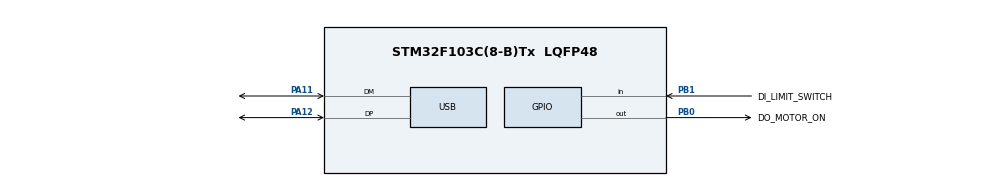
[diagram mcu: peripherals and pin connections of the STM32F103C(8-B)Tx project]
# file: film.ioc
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Mcu.Family=STM32F1
Mcu.Name=STM32F103C(8-B)Tx
Mcu.Package=LQFP48
NVIC.PriorityGroup=NVIC_PRIORITYGROUP_4
NVIC.USB_LP_CAN1_RX0_IRQn=true\:0\:0\:false\:false\:true\:false\:true
PA11.Mode=Device
PA11.Signal=USB_DM
PA12.Mode=Device
PA12.Signal=USB_DP
PA13.Mode=Serial_Wire
PA13.Signal=SYS_JTMS-SWDIO
PA14.Mode=Serial_Wire
PA14.Signal=SYS_JTCK-SWCLK
PB0.GPIO_Label=DO_MOTOR_ON
PB0.Signal=GPIO_Output
PB1.GPIO_Label=DI_LIMIT_SWITCH
PB1.GPIO_PuPd=GPIO_PULLUP
PB1.Signal=GPIO_Input
PD0-OSC_IN.Mode=HSE-External-Oscillator
PD0-OSC_IN.Signal=RCC_OSC_IN
PD1-OSC_OUT.Mode=HSE-External-Oscillator
PD1-OSC_OUT.Signal=RCC_OSC_OUT
ProjectManager.HeapSize=0x200
ProjectManager.StackSize=0x400
ProjectManager.TargetToolchain=MDK-ARM V5.27
RCC.AHBFreq_Value=72000000
RCC.APB1CLKDivider=RCC_HCLK_DIV2
RCC.APB1Freq_Value=36000000
RCC.APB1TimFreq_Value=72000000
RCC.APB2Freq_Value=72000000
RCC.APB2TimFreq_Value=72000000
RCC.HCLKFreq_Value=72000000
RCC.PLLMUL=RCC_PLL_MUL9
RCC.PLLSourceVirtual=RCC_PLLSOURCE_HSE
RCC.SYSCLKFreq_VALUE=72000000
RCC.SYSCLKSource=RCC_SYSCLKSOURCE_PLLCLK
RCC.USBFreq_Value=48000000
RCC.USBPrescaler=RCC_USBCLKSOURCE_PLL_DIV1_5
USB_DEVICE.CLASS_NAME_FS=CDC
USB_DEVICE.VirtualMode=Cdc
USB_DEVICE.VirtualModeFS=Cdc_FS
VP_USB_DEVICE_VS_USB_DEVICE_CDC_FS.Mode=CDC_FS
board=custom

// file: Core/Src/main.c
/* USER CODE BEGIN Header */
/**
  ******************************************************************************
  * @file           : main.c
  * @brief          : Main program body
  ******************************************************************************
  * @attention
  *
  * <h2><center>&copy; Copyright (c) 2021 STMicroelectronics.
  * All rights reserved.</center></h2>
  *
  * This software component is licensed by ST under Ultimate Liberty license
  * SLA0044, the "License"; You may not use this file except in compliance with
  * the License. You may obtain a copy of the License at:
  *                             www.st.com/SLA0044
  *
  ******************************************************************************
  */
/* USER CODE END Header */
#include "main.h"
#include "usb_device.h"
#include "usbd_cdc_if.h"
#include "gpio.h"

/* USER CODE BEGIN PM */
#define DI_LIMIT_SWITCH_IS_ON   LL_GPIO_IsInputPinSet(DI_LIMIT_SWITCH_GPIO_Port,\
                                                      DI_LIMIT_SWITCH_Pin)
#define DO_MOTOR_ON             LL_GPIO_SetOutputPin(DO_MOTOR_ON_GPIO_Port,\
                                                      DO_MOTOR_ON_Pin)
#define DO_MOTOR_OFF             LL_GPIO_ResetOutputPin(DO_MOTOR_ON_GPIO_Port,\
                                                        DO_MOTOR_ON_Pin)
/* USER CODE END PM */

void SystemClock_Config(void);

/* USER CODE BEGIN 0 */
USBD_StatusTypeDef UsbStatusType;
uint8_t rx_buf[100];
uint8_t tx_buf[100];
#define HELLO "Hello!"

int8_t MY_CDC_Receive_FS(uint8_t* Buf, uint32_t *Len)
{
  uint32_t len = *Len;
  uint8_t *p_rx_buf = &rx_buf[0];
  while(len--)
  {
    *p_rx_buf = *Buf;
    ++p_rx_buf;
    ++Buf;
  }
  return (USBD_OK);
}
/* USER CODE END 0 */

int main(void)
{

  /* MCU Configuration--------------------------------------------------------*/

  /* Reset of all peripherals, Initializes the Flash interface and the Systick. */
  HAL_Init();

  /* Configure the system clock */
  SystemClock_Config();

  /* Initialize all configured peripherals */
  MX_GPIO_Init();
  MX_USB_DEVICE_Init();
  USBD_Interface_fops_FS.Receive = MY_CDC_Receive_FS;
//  USBD_CDC_SetTxBuffer(&hUsbDeviceFS,
//                              tx_buf,
//                              100);
//  USBD_CDC_SetRxBuffer(&hUsbDeviceFS,
//                              rx_buf);

  /* Infinite loop */
  /* USER CODE BEGIN WHILE */
  while (1)
  {
    if(DI_LIMIT_SWITCH_IS_ON)
    { DO_MOTOR_ON; }
    else
    {
      DO_MOTOR_OFF;
      HAL_Delay(1000);
    }

    //CDC_Receive_FS(rx_buf, 100);
//    HAL_Delay(1000);
//    CDC_Transmit_FS(rx_buf, sizeof(HELLO));

    /* USER CODE END WHILE */

  }
}

void SystemClock_Config(void)
{
  LL_FLASH_SetLatency(LL_FLASH_LATENCY_2);
  while(LL_FLASH_GetLatency()!= LL_FLASH_LATENCY_2)
  {
  }
  LL_RCC_HSE_Enable();

   /* Wait till HSE is ready */
  while(LL_RCC_HSE_IsReady() != 1)
  {

  }
  LL_RCC_PLL_ConfigDomain_SYS(LL_RCC_PLLSOURCE_HSE_DIV_1, LL_RCC_PLL_MUL_9);
  LL_RCC_PLL_Enable();

   /* Wait till PLL is ready */
  while(LL_RCC_PLL_IsReady() != 1)
  {

  }
  LL_RCC_SetAHBPrescaler(LL_RCC_SYSCLK_DIV_1);
  LL_RCC_SetAPB1Prescaler(LL_RCC_APB1_DIV_2);
  LL_RCC_SetAPB2Prescaler(LL_RCC_APB2_DIV_1);
  LL_RCC_SetSysClkSource(LL_RCC_SYS_CLKSOURCE_PLL);

   /* Wait till System clock is ready */
  while(LL_RCC_GetSysClkSource() != LL_RCC_SYS_CLKSOURCE_STATUS_PLL)
  {

  }
  LL_SetSystemCoreClock(72000000);

   /* Update the time base */
  if (HAL_InitTick (TICK_INT_PRIORITY) != HAL_OK)
  {
    Error_Handler();
  }
  LL_RCC_SetUSBClockSource(LL_RCC_USB_CLKSOURCE_PLL_DIV_1_5);
}

void Error_Handler(void)
{
  __disable_irq();
  while (1)
  {
  }
}

/************************ (C) COPYRIGHT STMicroelectronics *****END OF FILE****/
